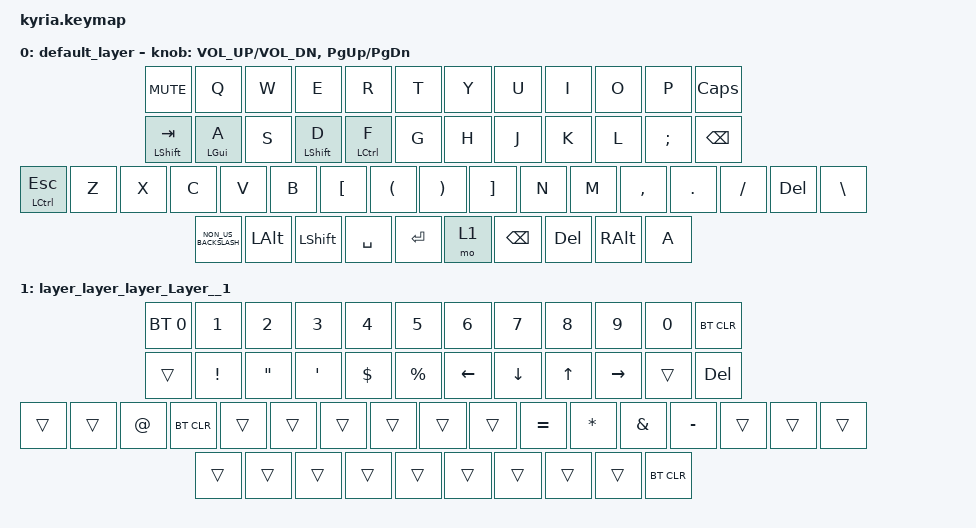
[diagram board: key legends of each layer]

/*
 * Copyright (c) 2020 The ZMK Contributors
 *
 * SPDX-License-Identifier: MIT
 */

/* Added my own encoder stuff */

#include <behaviors.dtsi>
#include <dt-bindings/zmk/keys.h>
#include <dt-bindings/zmk/bt.h>
#include <dt-bindings/zmk/outputs.h>

/ {
    keymap {
        compatible = "zmk,keymap";


        default_layer {
            bindings = <
    &kp C_MUTE                  &kp Q    &kp W         &kp E               &kp R      &kp T                       &kp Y                 &kp U                  &kp I              &kp O     &kp P  &kp CAPSLOCK
 &mt LSHFT TAB            &mt LGUI A     &kp S  &mt LSHIFT D  &mt LEFT_CONTROL F      &kp G                       &kp H                 &kp J                  &kp K              &kp L  &kp SEMI    &kp BSPC
 &mt LCTRL ESC                 &kp Z     &kp X         &kp C               &kp V      &kp B            &kp LEFT_BRACKET  &kp LEFT_PARENTHESIS  &kp RIGHT_PARENTHESIS  &kp RIGHT_BRACKET     &kp N       &kp M  &kp COMMA  &kp DOT  &kp FSLH  &kp DELETE  &kp BSLH
                &kp NON_US_BACKSLASH  &kp LALT         &kp LSHFT           &kp SPACE  &kp ENTER                       &mo 1               &kp BSPC               &kp DELETE           &kp RALT     &kp A
            >;
            			sensor-bindings = <&inc_dec_kp C_VOL_UP C_VOL_DN &inc_dec_kp PG_UP PG_DN>;

        };

        layer_layer_layer_Layer__1 {
            bindings = <

 &bt BT_SEL 0  &kp NUMBER_1       &kp NUMBER_2      &kp NUMBER_3  &kp NUMBER_4  &kp NUMBER_5              &kp NUMBER_6    &kp NUMBER_7  &kp NUMBER_8     &kp NUMBER_9  &kp NUMBER_0    &bt BT_CLR
 &trans      &kp EXCL  &kp DOUBLE_QUOTES  &kp SINGLE_QUOTE      &kp DLLR   &kp PERCENT            &kp LEFT_ARROW  &kp DOWN_ARROW  &kp UP_ARROW  &kp RIGHT_ARROW        &trans   &kp DEL
 &trans        &trans             &kp AT           &bt BT_CLR         &trans        &trans                    &trans          &trans        &trans           &trans     &kp EQUAL  &kp STAR  &kp AMPERSAND  &kp MINUS  &trans  &trans  &trans
               &trans             &trans            &trans        &trans        &trans                    &trans          &trans        &trans           &trans        &bt BT_CLR

            >;
        };

    };
};
